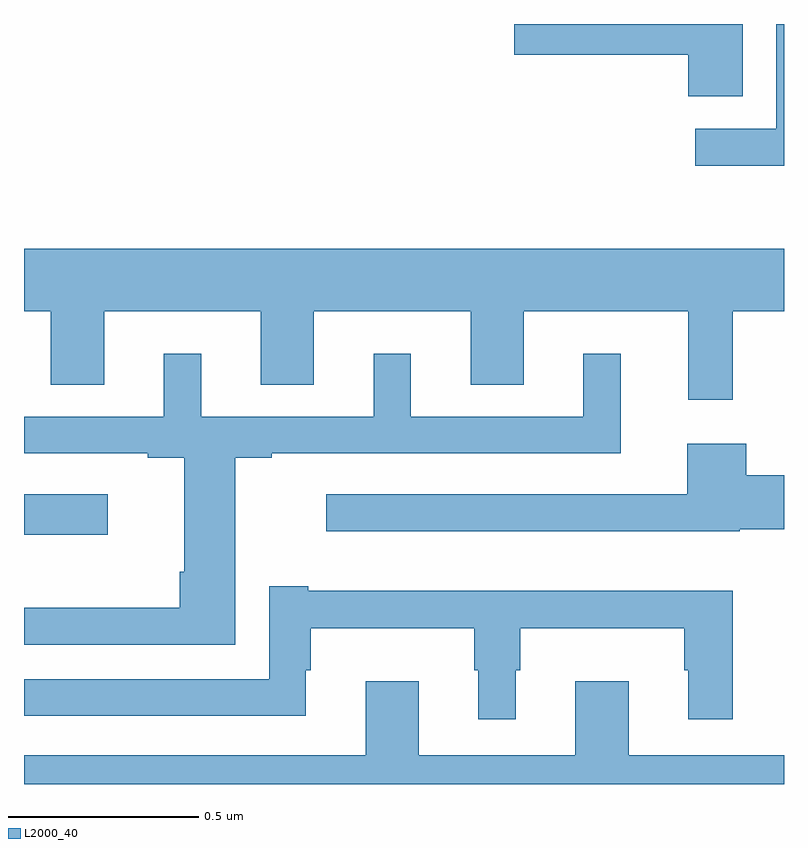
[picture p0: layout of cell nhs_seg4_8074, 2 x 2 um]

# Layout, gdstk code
import gdstk
lib = gdstk.Library(unit=1e-6, precision=1e-09)
def R(c, l, rs):  # rectangles x0, y0, x1, y1
    for r in rs: c.add(gdstk.rectangle(r[:2], r[2:], *l))
def P(c, l, *ps):  # polygons
    for p in ps: c.add(gdstk.Polygon(p, *l))
L2000_40 = (2000, 40)

nhs_seg4_8074 = lib.new_cell('nhs_seg4_8074')
R(nhs_seg4_8074, L2000_40, [(210,805.556,210.22,805.663)])
P(nhs_seg4_8074, L2000_40, [(212,806.9),(211.98,806.9),(211.98,806.625),(211.767,806.625),(211.767,806.527),(212,806.527)],
  [(211.891,806.9),(211.29,806.9),(211.29,806.819),(211.748,806.819),(211.748,806.71),(211.891,806.71)],
  [(211.865,806.144),(212,806.144),(212,806.308),(210,806.308),(210,806.144),(210.071,806.144),(210.071,805.951),(210.211,805.951),(210.211,806.144),(210.623,806.144),(210.623,805.951),(210.763,805.951),(210.763,806.144),(211.175,806.144),(211.175,805.951),(211.315,805.951),(211.315,806.144),(211.748,806.144),(211.748,805.911),(211.865,805.911)],
  [(210.556,805.758),(210.652,805.758),(210.652,805.77),(211.571,805.77),(211.571,806.032),(211.472,806.032),(211.472,805.866),(211.018,805.866),(211.018,806.032),(210.92,806.032),(210.92,805.866),(210.466,805.866),(210.466,806.032),(210.368,806.032),(210.368,805.866),(210,805.866),(210,805.77),(210.326,805.77),(210.326,805.758),(210.422,805.758),(210.422,805.459),(210.41,805.459),(210.41,805.364),(210,805.364),(210,805.266),(210.556,805.266)],
  [(211.884,805.571),(212,805.571),(212,805.713),(211.901,805.713),(211.901,805.795),(211.745,805.795),(211.745,805.662),(210.795,805.662),(210.795,805.565),(211.884,805.565)],
  [(211.294,805.199),(211.306,805.199),(211.306,805.31),(211.737,805.31),(211.737,805.199),(211.748,805.199),(211.748,805.071),(211.865,805.071),(211.865,805.408),(210.748,805.408),(210.748,805.42),(210.645,805.42),(210.645,805.176),(210,805.176),(210,805.08),(210.742,805.08),(210.742,805.199),(210.754,805.199),(210.754,805.31),(211.185,805.31),(211.185,805.199),(211.196,805.199),(211.196,805.071),(211.294,805.071)],
  [(212,804.976),(211.591,804.976),(211.591,805.171),(211.451,805.171),(211.451,804.976),(211.039,804.976),(211.039,805.171),(210.899,805.171),(210.899,804.976),(210,804.976),(210,804.9),(212,804.9)])

lib.write_gds('nhs_seg4_8074.gds')
